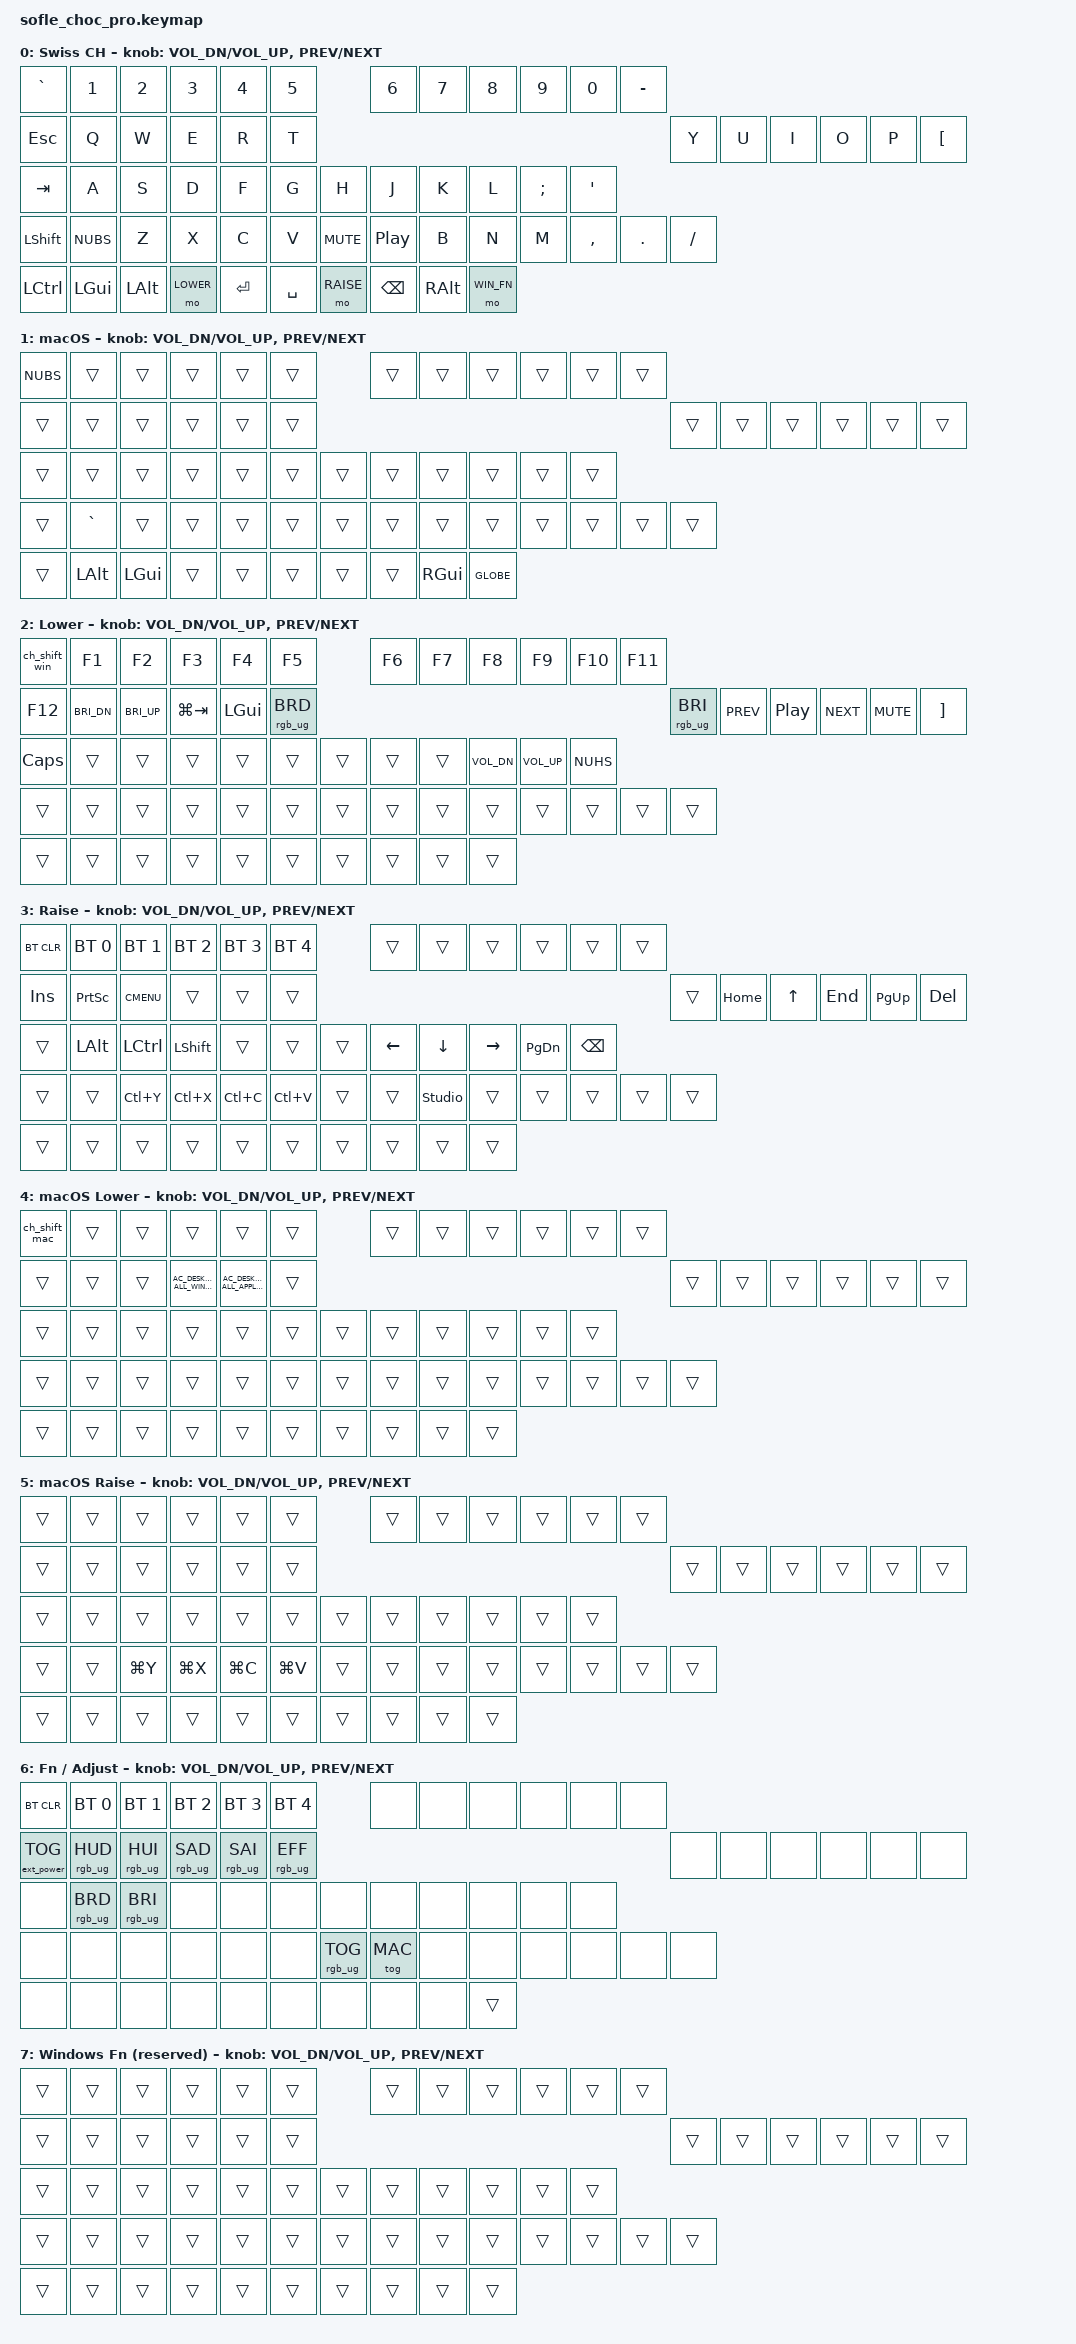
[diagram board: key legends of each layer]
/*
 * Sofle Choc Pro BT — Swiss CH / QWERTZ
 *
 * Layout based on the Keebart Sofle Choc Pro BT matrix.
 *
 * Host keyboard layout:
 *   - Windows: Swiss German
 *   - macOS:   Swiss German
 *
 * FN behavior:
 *   - macOS: Globe / Fn (native Globe keycode)
 *   - Windows: reserved, empty Windows Fn layer (no shortcuts yet)
 *   - No FN double-tap; OS switch: Lower + Raise + right encoder press
 *
 * Windows thumb modifiers:
 *   Control | Win | Alt | Lower | Enter   ||   Space | Raise | Backspace | AltGr | FN
 *
 * macOS thumb modifiers:
 *   Control | Option | Command | Lower | Enter   ||   Space | Raise | Backspace | Command | FN
 *
 * Lower + Raise activates ADJUST.
 */

#include <behaviors.dtsi>
#include <dt-bindings/zmk/keys.h>
#include <dt-bindings/zmk/modifiers.h>
#include <dt-bindings/zmk/bt.h>
#include <dt-bindings/zmk/rgb.h>
#include <dt-bindings/zmk/ext_power.h>

#define BASE       0
#define MAC        1
#define LOWER      2
#define RAISE      3
#define MAC_LOWER  4
#define MAC_RAISE  5
#define ADJUST     6
#define WIN_FN     7

/ {
    behaviors {
        /* Swiss CH, Lower+§: plain ^, Shift ~, AltGr/Option ` . */
        ch_grave: ch_grave {
            compatible = "zmk,behavior-macro";
            #binding-cells = <0>;
            wait-ms = <40>;
            tap-ms = <40>;
            /* Shift + physical caret (^), then Space: dead grave on CH. */
            bindings = <&kp LS(EQUAL) &kp SPACE>;
        };
        ch_tilde_win: ch_tilde_win {
            compatible = "zmk,behavior-macro";
            #binding-cells = <0>;
            wait-ms = <40>;
            tap-ms = <40>;
            /* Windows-CH: AltGr + caret key, then Space. */
            bindings = <&kp RA(EQUAL) &kp SPACE>;
        };
        ch_tilde_mac: ch_tilde_mac {
            compatible = "zmk,behavior-macro";
            #binding-cells = <0>;
            wait-ms = <40>;
            tap-ms = <40>;
            /* macOS-CH: Option + N, then Space. */
            bindings = <&kp LA(N) &kp SPACE>;
        };
        ch_alt_win: ch_alt_win {
            compatible = "zmk,behavior-mod-morph";
            #binding-cells = <0>;
            bindings = <&kp EQUAL>, <&ch_grave>;
            mods = <MOD_RALT>;
        };
        ch_alt_mac: ch_alt_mac {
            compatible = "zmk,behavior-mod-morph";
            #binding-cells = <0>;
            bindings = <&kp EQUAL>, <&ch_grave>;
            mods = <(MOD_LALT|MOD_RALT)>;
        };
        /* Shift first: Shift+Alt always selects the tilde. */
        ch_shift_win: ch_shift_win {
            compatible = "zmk,behavior-mod-morph";
            #binding-cells = <0>;
            bindings = <&ch_alt_win>, <&ch_tilde_win>;
            mods = <(MOD_LSFT|MOD_RSFT)>;
        };
        ch_shift_mac: ch_shift_mac {
            compatible = "zmk,behavior-mod-morph";
            #binding-cells = <0>;
            bindings = <&ch_alt_mac>, <&ch_tilde_mac>;
            mods = <(MOD_LSFT|MOD_RSFT)>;
        };

    };

    conditional_layers {
        compatible = "zmk,conditional-layers";

        adjust_layer {
            if-layers = <LOWER RAISE>;
            then-layer = <ADJUST>;
        };

        mac_lower_layer {
            if-layers = <MAC LOWER>;
            then-layer = <MAC_LOWER>;
        };

        mac_raise_layer {
            if-layers = <MAC RAISE>;
            then-layer = <MAC_RAISE>;
        };
    };

    keymap {
        compatible = "zmk,keymap";

        default_layer {
            display-name = "Swiss CH";
            /*
             * | §° | 1 | 2 | 3 | 4 | 5 |                    | 6 | 7 | 8 | 9 | 0 | '? |
             * |Esc | Q | W | E | R | T |                    | Z | U | I | O | P | Ü  |
             * |Tab | A | S | D | F | G |                    | H | J | K | L | Ö | Ä  |
             * |Shft|<> | Y | X | C | V | Mute | | Play/Pause | B | N | M | , | . | - |
             *             |Ctrl|Win|Alt|Lower|Enter| |Space|Raise|Bspc|AltGr|FN|
             */
            bindings = <
        &kp GRAVE   &kp N1   &kp N2   &kp N3   &kp N4   &kp N5   &kp N6   &kp N7   &kp N8   &kp N9   &kp N0   &kp MINUS
        &kp ESC   &kp Q   &kp W   &kp E   &kp R   &kp T   &kp Y   &kp U   &kp I   &kp O   &kp P   &kp LBKT
        &kp TAB   &kp A   &kp S   &kp D   &kp F   &kp G   &kp H   &kp J   &kp K   &kp L   &kp SEMI   &kp SQT
        &kp LSHFT   &kp NUBS   &kp Z   &kp X   &kp C   &kp V   &kp C_MUTE   &kp C_PP   &kp B   &kp N   &kp M   &kp COMMA   &kp DOT   &kp FSLH
        &kp LCTRL   &kp LGUI   &kp LALT   &mo LOWER   &kp RET   &kp SPACE   &mo RAISE   &kp BSPC   &kp RALT   &mo WIN_FN
            >;
            sensor-bindings = <&inc_dec_kp C_VOL_DN C_VOL_UP &inc_dec_kp C_PREV C_NEXT>;
        };

        mac_layer {
            display-name = "macOS";
            /*
             * macOS Swiss-German overlay:
             * - swap the two ISO positions (§/° and </>) to match macOS de-CH
             * - Win -> Option, Alt -> Command, AltGr -> right Command
             */
            bindings = <
        &kp NUBS   &trans   &trans   &trans   &trans   &trans   &trans   &trans   &trans   &trans   &trans   &trans
        &trans   &trans   &trans   &trans   &trans   &trans   &trans   &trans   &trans   &trans   &trans   &trans
        &trans   &trans   &trans   &trans   &trans   &trans   &trans   &trans   &trans   &trans   &trans   &trans
        &trans   &kp GRAVE   &trans   &trans   &trans   &trans   &trans   &trans   &trans   &trans   &trans   &trans   &trans   &trans
        &trans   &kp LALT   &kp LGUI   &trans   &trans   &trans   &trans   &trans   &kp RGUI   &kp GLOBE
            >;
            sensor-bindings = <&inc_dec_kp C_VOL_DN C_VOL_UP &inc_dec_kp C_PREV C_NEXT>;
        };

        lower_layer {
            display-name = "Lower";
            /*
             * F1-F11 on the number row, F12 on Esc.
             * Missing Swiss ISO physical keys are restored positionally:
             *   Lower+§  -> ^ / Shift+Lower+§ -> ~ / AltGr+Lower+§ -> `
             *   Lower+Ü  -> physical ¨/!/ ] key (RBKT usage)
             *   Lower+Ä  -> physical $/£/} key (NUHS usage)
             */
            bindings = <
        &ch_shift_win   &kp F1   &kp F2   &kp F3   &kp F4   &kp F5   &kp F6   &kp F7   &kp F8   &kp F9   &kp F10   &kp F11
        &kp F12   &kp C_BRI_DN   &kp C_BRI_UP   &kp LG(TAB)   &kp LGUI   &rgb_ug RGB_BRD   &rgb_ug RGB_BRI   &kp C_PREV   &kp C_PP   &kp C_NEXT   &kp C_MUTE   &kp RBKT
        &kp CAPSLOCK   &trans   &trans   &trans   &trans   &trans   &trans   &trans   &trans   &kp C_VOL_DN   &kp C_VOL_UP   &kp NUHS
        &trans   &trans   &trans   &trans   &trans   &trans   &trans   &trans   &trans   &trans   &trans   &trans   &trans   &trans
        &trans   &trans   &trans   &trans   &trans   &trans   &trans   &trans   &trans   &trans
            >;
            sensor-bindings = <&inc_dec_kp C_VOL_DN C_VOL_UP &inc_dec_kp C_PREV C_NEXT>;
        };

        raise_layer {
            display-name = "Raise";
            bindings = <
        &bt BT_CLR   &bt BT_SEL 0   &bt BT_SEL 1   &bt BT_SEL 2   &bt BT_SEL 3   &bt BT_SEL 4   &trans   &trans   &trans   &trans   &trans   &trans
        &kp INS   &kp PSCRN   &kp K_CMENU   &trans   &trans   &trans   &trans   &kp HOME   &kp UP   &kp END   &kp PG_UP   &kp DEL
        &trans   &kp LALT   &kp LCTRL   &kp LSHFT   &trans   &trans   &trans   &kp LEFT   &kp DOWN   &kp RIGHT   &kp PG_DN   &kp BSPC
        &trans   &trans   &kp LC(Y)   &kp LC(X)   &kp LC(C)   &kp LC(V)   &trans   &trans   &studio_unlock   &trans   &trans   &trans   &trans   &trans
        &trans   &trans   &trans   &trans   &trans   &trans   &trans   &trans   &trans   &trans
            >;
            sensor-bindings = <&inc_dec_kp C_VOL_DN C_VOL_UP &inc_dec_kp C_PREV C_NEXT>;
        };

        mac_lower_layer_keymap {
            display-name = "macOS Lower";
            /*
             * macOS-specific overrides:
             * § -> macOS-specific ^/~ / ` behavior
             * E -> Mission Control / all windows
             * R -> show applications
             */
            bindings = <
        &ch_shift_mac   &trans   &trans   &trans   &trans   &trans   &trans   &trans   &trans   &trans   &trans   &trans
        &trans   &trans   &trans   &kp C_AC_DESKTOP_SHOW_ALL_WINDOWS   &kp C_AC_DESKTOP_SHOW_ALL_APPLICATIONS   &trans   &trans   &trans   &trans   &trans   &trans   &trans
        &trans   &trans   &trans   &trans   &trans   &trans   &trans   &trans   &trans   &trans   &trans   &trans
        &trans   &trans   &trans   &trans   &trans   &trans   &trans   &trans   &trans   &trans   &trans   &trans   &trans   &trans
        &trans   &trans   &trans   &trans   &trans   &trans   &trans   &trans   &trans   &trans
            >;
            sensor-bindings = <&inc_dec_kp C_VOL_DN C_VOL_UP &inc_dec_kp C_PREV C_NEXT>;
        };

        mac_raise_layer_keymap {
            display-name = "macOS Raise";
            /*
             * macOS editing shortcuts:
             * Y = Cmd+Z, X = Cmd+X, C = Cmd+C, V = Cmd+V
             */
            bindings = <
        &trans   &trans   &trans   &trans   &trans   &trans   &trans   &trans   &trans   &trans   &trans   &trans
        &trans   &trans   &trans   &trans   &trans   &trans   &trans   &trans   &trans   &trans   &trans   &trans
        &trans   &trans   &trans   &trans   &trans   &trans   &trans   &trans   &trans   &trans   &trans   &trans
        &trans   &trans   &kp LG(Y)   &kp LG(X)   &kp LG(C)   &kp LG(V)   &trans   &trans   &trans   &trans   &trans   &trans   &trans   &trans
        &trans   &trans   &trans   &trans   &trans   &trans   &trans   &trans   &trans   &trans
            >;
            sensor-bindings = <&inc_dec_kp C_VOL_DN C_VOL_UP &inc_dec_kp C_PREV C_NEXT>;
        };

        adjust_layer_keymap {
            display-name = "Fn / Adjust";
            bindings = <
        &bt BT_CLR   &bt BT_SEL 0   &bt BT_SEL 1   &bt BT_SEL 2   &bt BT_SEL 3   &bt BT_SEL 4   &none   &none   &none   &none   &none   &none
        &ext_power EP_TOG   &rgb_ug RGB_HUD   &rgb_ug RGB_HUI   &rgb_ug RGB_SAD   &rgb_ug RGB_SAI   &rgb_ug RGB_EFF   &none   &none   &none   &none   &none   &none
        &none   &rgb_ug RGB_BRD   &rgb_ug RGB_BRI   &none   &none   &none   &none   &none   &none   &none   &none   &none
        &none   &none   &none   &none   &none   &none   &rgb_ug RGB_TOG   &tog MAC   &none   &none   &none   &none   &none   &none
        &none   &none   &none   &none   &none   &none   &none   &none   &none   &trans
            >;
            sensor-bindings = <&inc_dec_kp C_VOL_DN C_VOL_UP &inc_dec_kp C_PREV C_NEXT>;
        };

        windows_fn_layer {
            display-name = "Windows Fn (reserved)";
            /* Intentionally empty: no Windows Fn shortcuts until requested. */
            bindings = <
        &trans   &trans   &trans   &trans   &trans   &trans   &trans   &trans   &trans   &trans   &trans   &trans
        &trans   &trans   &trans   &trans   &trans   &trans   &trans   &trans   &trans   &trans   &trans   &trans
        &trans   &trans   &trans   &trans   &trans   &trans   &trans   &trans   &trans   &trans   &trans   &trans
        &trans   &trans   &trans   &trans   &trans   &trans   &trans   &trans   &trans   &trans   &trans   &trans   &trans   &trans
        &trans   &trans   &trans   &trans   &trans   &trans   &trans   &trans   &trans   &trans
            >;
            sensor-bindings = <&inc_dec_kp C_VOL_DN C_VOL_UP &inc_dec_kp C_PREV C_NEXT>;
        };
    };
};
